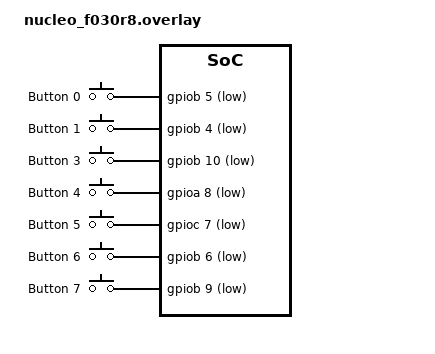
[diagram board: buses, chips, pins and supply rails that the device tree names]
/ {
    aliases {
        sw1 = &button0;
        sw2 = &button1;
        sw3 = &button2;
        sw4 = &button3;
        sw5 = &button4;
        sw6 = &button5;
        sw7 = &button6;
        // led0 = &led0;
    };

    // soc {
    //     gpio4: gpio@4 {
    //         compatible = "gpio";
    //         status = "okay";
    //         gpio-controller;
    //         #gpio-cells = <2>;
    //     };

    //     gpio5: gpio@5 {
    //         compatible = "gpio";
    //         status = "okay";
    //         gpio-controller;
    //         #gpio-cells = <2>;
    //     };
    // };

    // leds{
    //     compatible ="gpio-leds";
    //     led0: __leds0 {
    //         gpios=<&gpioa 5 0>;
    //         label="onboard led";
    //     };
    // };

    buttons {
        compatible = "gpio-keys";
        button0: button_0 {
            gpios = <&gpiob 5 (GPIO_ACTIVE_LOW | GPIO_PULL_UP)>;// Example of using GPIO_ACTIVE_LOW flag
            label = "Button 0";//select down
        };

        button1: button_1 {
            gpios = <&gpiob 4 (GPIO_ACTIVE_LOW | GPIO_PULL_UP)>;// Example of using GPIO_ACTIVE_LOW flag
            label = "Button 1";//select left
        };
        button2: button_2 {
            gpios = <&gpiob 10 (GPIO_ACTIVE_LOW | GPIO_PULL_UP)>;// Example of using GPIO_ACTIVE_LOW flag
            label = "Button 3";// select up
        };
        button3: button_3 {
            gpios = <&gpioa 8 (GPIO_ACTIVE_LOW | GPIO_PULL_UP)>;// Example of using GPIO_ACTIVE_LOW flag
            label = "Button 4";//select right
        };
        button4: button_4 {
            gpios = <&gpioc 7 (GPIO_ACTIVE_LOW | GPIO_PULL_UP)>;// Example of using GPIO_ACTIVE_LOW flag
            label = "Button 5";//shop left
        };
        button5: button_5 {
            gpios = <&gpiob 6 (GPIO_ACTIVE_LOW | GPIO_PULL_UP)>;// Example of using GPIO_ACTIVE_LOW flag
            label = "Button 6";//shop comfirm
        };
        button6: button_6 {
            gpios = <&gpiob 9 (GPIO_ACTIVE_LOW | GPIO_PULL_UP)>;// Example of using GPIO_ACTIVE_LOW flag
            label = "Button 7";//shop right
        };
    };
};
